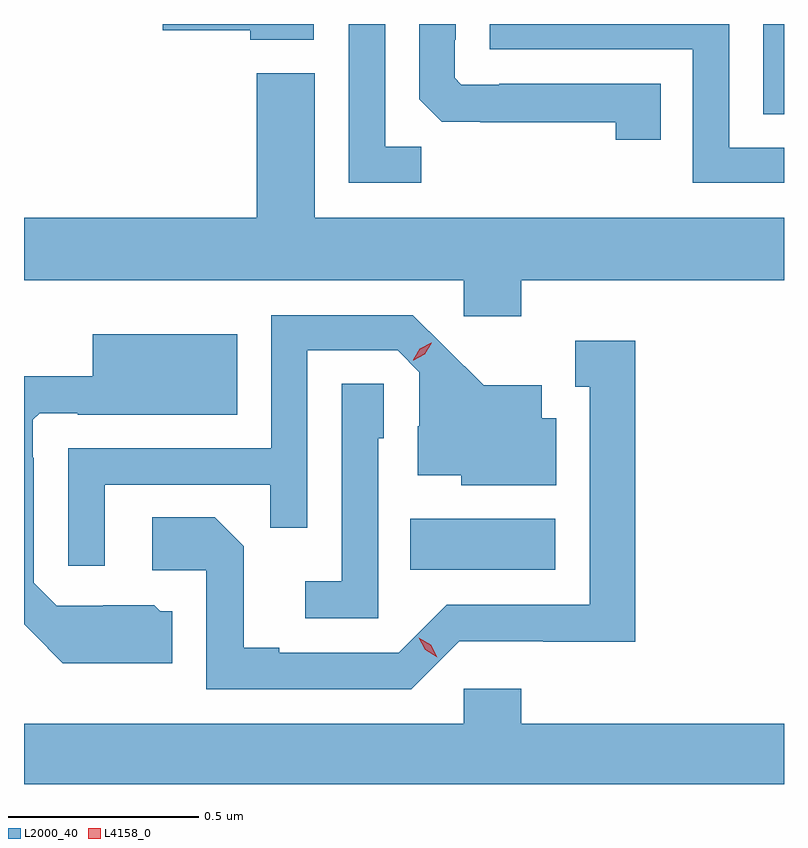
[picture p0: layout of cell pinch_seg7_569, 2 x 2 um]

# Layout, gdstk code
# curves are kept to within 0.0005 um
import gdstk
lib = gdstk.Library(unit=1e-6, precision=1e-09)
def R(c, l, rs):  # rectangles x0, y0, x1, y1
    for r in rs: c.add(gdstk.rectangle(r[:2], r[2:], *l))
def P(c, l, *ps):  # polygons
    for p in ps: c.add(gdstk.Polygon(p, *l))
L2000_40 = (2000, 40)
L4158_0 = (4158, 0)

pinch_seg7_569 = lib.new_cell('pinch_seg7_569')
R(pinch_seg7_569, L2000_40, [(161.122,1041.146,161.503,1041.28), (162.051,1042.345,162.105,1042.582)])
P(pinch_seg7_569, L2000_40, [(161.78,1042.425),(161.356,1042.425),(161.356,1042.422),(161.256,1042.422),(161.238,1042.44),(161.238,1042.54),(161.241,1042.54),(161.241,1042.582),(161.145,1042.582),(161.145,1042.384),(161.204,1042.325),(161.305,1042.325),(161.305,1042.324),(161.662,1042.324),(161.662,1042.278),(161.78,1042.278)],
  [(160.867,1042.582),(160.47,1042.582),(160.47,1042.565),(160.7,1042.565),(160.7,1042.541),(160.867,1042.541)],
  [(161.151,1042.259),(161.055,1042.259),(161.055,1042.582),(160.959,1042.582),(160.959,1042.164),(161.151,1042.164)],
  [(162.105,1042.257),(161.961,1042.257),(161.961,1042.582),(161.331,1042.582),(161.331,1042.515),(161.865,1042.515),(161.865,1042.164),(162.105,1042.164)],
  [(161.414,1041.908),(162.105,1041.908),(162.105,1042.072),(160.87,1042.072),(160.87,1042.453),(160.718,1042.453),(160.718,1042.072),(160.105,1042.072),(160.105,1041.908),(161.262,1041.908),(161.262,1041.813),(161.414,1041.813)],
  [(160.317,1041.369),(160.753,1041.369),(160.753,1041.256),(160.851,1041.256),(160.851,1041.723),(161.088,1041.723),(161.145,1041.666),(161.145,1041.524),(161.141,1041.524),(161.141,1041.395),(161.256,1041.395),(161.256,1041.368),(161.506,1041.368),(161.506,1041.544),(161.467,1041.544),(161.467,1041.631),(161.315,1041.631),(161.128,1041.816),(160.755,1041.816),(160.755,1041.465),(160.221,1041.465),(160.221,1041.156),(160.317,1041.156)],
  [(160.495,1041.036),(160.464,1041.036),(160.448,1041.052),(160.314,1041.052),(160.314,1041.051),(160.191,1041.051),(160.131,1041.111),(160.131,1041.44),(160.128,1041.44),(160.128,1041.54),(160.146,1041.558),(160.246,1041.558),(160.246,1041.554),(160.666,1041.554),(160.666,1041.766),(160.286,1041.766),(160.286,1041.655),(160.105,1041.655),(160.105,1041.003),(160.207,1040.9),(160.495,1040.9)],
  [(161.25,1040.958),(161.472,1040.958),(161.472,1040.957),(161.713,1040.957),(161.713,1041.748),(161.555,1041.748),(161.555,1041.627),(161.594,1041.627),(161.594,1041.054),(161.217,1041.054),(161.091,1040.928),(160.777,1040.928),(160.777,1040.941),(160.683,1040.941),(160.683,1041.208),(160.607,1041.284),(160.443,1041.284),(160.443,1041.144),(160.584,1041.144),(160.584,1040.832),(161.124,1040.832)],
  [(161.037,1041.492),(161.052,1041.492),(161.052,1041.635),(160.941,1041.635),(160.941,1041.115),(160.845,1041.115),(160.845,1041.018),(161.037,1041.018)],
  [(162.105,1040.74),(161.414,1040.74),(161.414,1040.833),(161.262,1040.833),(161.262,1040.74),(160.105,1040.74),(160.105,1040.582),(162.105,1040.582)])
P(pinch_seg7_569, L4158_0, [(161.129,1041.697),(161.129,1041.698),(161.146,1041.728),(161.177,1041.743),(161.178,1041.743),(161.178,1041.743),(161.16,1041.713),(161.13,1041.697)],
  [(161.193,1040.916),(161.161,1040.935),(161.144,1040.967),(161.144,1040.967),(161.144,1040.967),(161.176,1040.948),(161.193,1040.916),(161.193,1040.916)])

lib.write_gds('pinch_seg7_569.gds')
